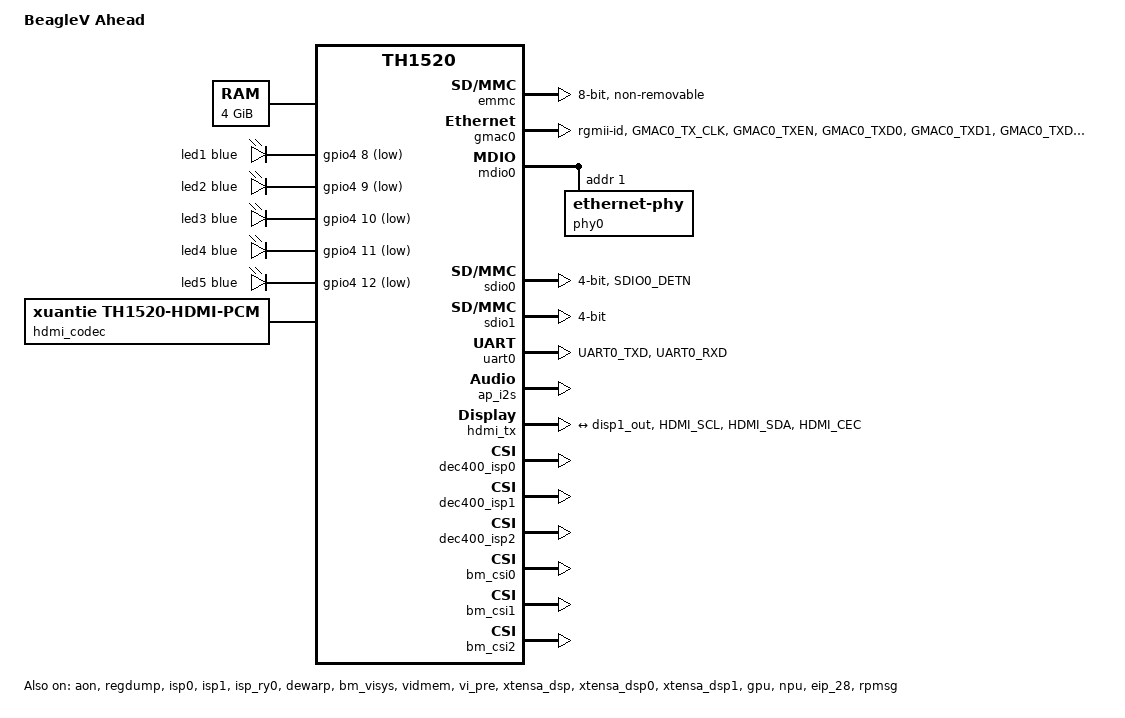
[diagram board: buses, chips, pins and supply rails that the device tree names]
// SPDX-License-Identifier: (GPL-2.0 OR MIT)
/*
 * Copyright (C) 2023 Jisheng Zhang <jszhang@kernel.org>
 * Copyright (C) 2023 Drew Fustini <dfustini@baylibre.com>
 */

/dts-v1/;

#include "th1520.dtsi"
#include <dt-bindings/gpio/gpio.h>
#include <dt-bindings/leds/common.h>

/ {
	model = "BeagleV Ahead";
	compatible = "beagle,beaglev-ahead", "thead,th1520";


	chosen {
		stdout-path = "serial0:115200n8";
	};

	memory@0 {
		device_type = "memory";
		reg = <0x0 0x200000 0x0 0xffe00000>;
	};

	leds {
		pinctrl-names = "default";
		pinctrl-0 = <&led_pins>;
		compatible = "gpio-leds";

		led-1 {
			gpios = <&gpio4 8 GPIO_ACTIVE_LOW>;
			color = <LED_COLOR_ID_BLUE>;
			label = "led1";
		};

		led-2 {
			gpios = <&gpio4 9 GPIO_ACTIVE_LOW>;
			color = <LED_COLOR_ID_BLUE>;
			label = "led2";
		};

		led-3 {
			gpios = <&gpio4 10 GPIO_ACTIVE_LOW>;
			color = <LED_COLOR_ID_BLUE>;
			label = "led3";
		};

		led-4 {
			gpios = <&gpio4 11 GPIO_ACTIVE_LOW>;
			color = <LED_COLOR_ID_BLUE>;
			label = "led4";
		};

		led-5 {
			gpios = <&gpio4 12 GPIO_ACTIVE_LOW>;
			color = <LED_COLOR_ID_BLUE>;
			label = "led5";
		};
	};

		th1520_iopmp: iopmp {
		compatible = "xuantie,th1520-iopmp";

		/* config#1: multiple valid regions */
		iopmp_emmc: IOPMP_EMMC {
			attr = <0xFFFFFFFF>;
			is_default_region;
		};

		/* config#2: iopmp bypass */
		iopmp_sdio0: IOPMP_SDIO0 {
			bypass_en;
		};

		/* config#3: iopmp default region set */
		iopmp_sdio1: IOPMP_SDIO1 {
			attr = <0xFFFFFFFF>;
			is_default_region;
		};

		iopmp_usb0: IOPMP_USB0 {
			attr = <0xFFFFFFFF>;
			is_default_region;
		};

		iopmp_ao: IOPMP_AO {
			is_default_region;
		};

		iopmp_aud: IOPMP_AUD {
			is_default_region;
		};

		iopmp_chip_dbg: IOPMP_CHIP_DBG {
			is_default_region;
		};

		iopmp_eip120i: IOPMP_EIP120I {
			is_default_region;
		};

		iopmp_eip120ii: IOPMP_EIP120II {
			is_default_region;
		};

		iopmp_eip120iii: IOPMP_EIP120III {
			is_default_region;
		};

		iopmp_isp0: IOPMP_ISP0 {
			is_default_region;
		};

		iopmp_isp1: IOPMP_ISP1 {
			is_default_region;
		};

		iopmp_dw200: IOPMP_DW200 {
			is_default_region;
		};

		iopmp_vipre: IOPMP_VIPRE {
			is_default_region;
		};

		iopmp_venc: IOPMP_VENC {
			is_default_region;
		};

		iopmp_vdec: IOPMP_VDEC {
			is_default_region;
		};

		iopmp_g2d: IOPMP_G2D {
			is_default_region;
		};

		iopmp_fce: IOPMP_FCE {
			is_default_region;
		};

		iopmp_npu: IOPMP_NPU {
			is_default_region;
		};

		iopmp0_dpu: IOPMP0_DPU {
			bypass_en;
		};

		iopmp1_dpu: IOPMP1_DPU {
			bypass_en;
		};

		iopmp_gpu: IOPMP_GPU {
			is_default_region;
		};

		iopmp_gmac1: IOPMP_GMAC1 {
			is_default_region;
		};

		iopmp_gmac2: IOPMP_GMAC2 {
			is_default_region;
		};

		iopmp_dmac: IOPMP_DMAC {
			is_default_region;
		};

		iopmp_tee_dmac: IOPMP_TEE_DMAC {
			is_default_region;
		};

		iopmp_dsp0: IOPMP_DSP0 {
			is_default_region;
		};

		iopmp_dsp1: IOPMP_DSP1 {
			is_default_region;
		};
	};

	mbox_910t_client2: mbox_910t_client2 {
		compatible = "xuantie,th1520-mbox-client";
		mbox-names = "906";
		mboxes = <&mbox_910t 2 0>;
		audio-mbox-regmap = <&audio_mbox>;
		status = "okay";
	};

	th1520_sound: soundcard@1 {
		compatible = "simple-audio-card";
		simple-audio-card,name = "TH1520-Sound-Card";
		#address-cells = <1>;
		#size-cells = <0>;

        simple-audio-card,dai-link@0 {
			reg = <0>;
			format = "i2s";
			cpu {
				sound-dai = <&ap_i2s 1>;
			};
			codec {
				sound-dai = <&hdmi_codec>;
			};
		};
	};

	th1520_rpmsg: th1520_rpmsg {
		compatible = "th1520,rpmsg-bus", "simple-bus";
		memory-region = <&rpmsgmem>;
		#address-cells = <2>;
		#size-cells = <2>;
		ranges;
		rpmsg: rpmsg{
			vdev-nums = <1>;
            reg = <0x0 0x1E000000 0 0x10000>;
			compatible = "th1520,th1520-rpmsg";
			log-memory-region = <&audio_log_mem>;
			audio-text-memory-region = <&audio_text_mem>;
			status = "okay";
		};
	};

	hdmi_codec: hdmi_codec@1 {
		#sound-dai-cells = <0>;
		compatible = "xuantie,th1520-hdmi-pcm";
		status = "okay";
		sound-name-prefix = "DUMMY";
	};

	thermal-zones {
		cpu-thermal {
			sustainable-power = <1600>;

			trips {
				trip_active0: active-0 {
					temperature = <39000>;
					hysteresis = <5000>;
					type = "active";
				};

				trip_active1: active-1 {
					temperature = <50000>;
					hysteresis = <5000>;
					type = "active";
				};

				trip_active2: active-2 {
					temperature = <60000>;
					hysteresis = <5000>;
					type = "active";
				};
			};
		};

		dev-thermal {
			sustainable-power = <3000>;
		};
	};
};

&cpus {
	c910_0: cpu@0 {
		dvdd-supply = <&dvdd_cpu_reg>;
		dvddm-supply = <&dvddm_cpu_reg>;

		operating-points = <
			/* kHz    uV */
			300000  600000
			400000  700000
			500000  700000
			600000  700000
			702000  700000
			800000  700000
			900000  800000
			1000000 800000
			1104000 800000
			1200000 800000
			1296000 800000
			1404000 800000
			1500000 800000
			1608000 1000000
			1704000 1000000
			1848000 1000000
		>;
		th1520,dvddm-operating-points = <
			/* kHz   uV */
			300000  800000
			400000  800000
			500000  800000
			600000  800000
			702000  800000
			800000  800000
			900000  800000
			1000000 800000
			1104000 800000
			1200000 800000
			1296000 800000
			1404000 800000
			1500000 800000
			1608000 1000000
			1704000 1000000
			1848000 1000000
		>;
	};
	c910_1: cpu@1 {
		dvdd-supply = <&dvdd_cpu_reg>;
		dvddm-supply = <&dvddm_cpu_reg>;

		operating-points = <
			/* kHz    uV */
			300000  600000
			400000  700000
			500000  700000
			600000  700000
			702000  700000
			800000  700000
			900000  800000
			1000000 800000
			1104000 800000
			1200000 800000
			1296000 800000
			1404000 800000
			1500000 800000
			1608000 1000000
			1704000 1000000
			1848000 1000000
		>;
		th1520,dvddm-operating-points = <
			/* kHz   uV */
			300000  800000
			400000  800000
			500000  800000
			600000  800000
			702000  800000
			800000  800000
			900000  800000
			1000000 800000
			1104000 800000
			1200000 800000
			1296000 800000
			1404000 800000
			1500000 800000
			1608000 1000000
			1704000 1000000
			1848000 1000000
		>;
	};
	c910_2: cpu@2 {
		dvdd-supply = <&dvdd_cpu_reg>;
		dvddm-supply = <&dvddm_cpu_reg>;

		operating-points = <
			/* kHz    uV */
			300000  600000
			400000  700000
			500000  700000
			600000  700000
			702000  700000
			800000  700000
			900000  800000
			1000000 800000
			1104000 800000
			1200000 800000
			1296000 800000
			1404000 800000
			1500000 800000
			1608000 1000000
			1704000 1000000
			1848000 1000000
		>;
		th1520,dvddm-operating-points = <
			/* kHz   uV */
			300000  800000
			400000  800000
			500000  800000
			600000  800000
			702000  800000
			800000  800000
			900000  800000
			1000000 800000
			1104000 800000
			1200000 800000
			1296000 800000
			1404000 800000
			1500000 800000
			1608000 1000000
			1704000 1000000
			1848000 1000000
		>;
	};
	c910_3: cpu@3 {
		dvdd-supply = <&dvdd_cpu_reg>;
		dvddm-supply = <&dvddm_cpu_reg>;

		operating-points = <
			/* kHz    uV */
			300000  600000
			400000  700000
			500000  700000
			600000  700000
			702000  700000
			800000  700000
			900000  800000
			1000000 800000
			1104000 800000
			1200000 800000
			1296000 800000
			1404000 800000
			1500000 800000
			1608000 1000000
			1704000 1000000
			1848000 1000000
		>;
		th1520,dvddm-operating-points = <
			/* kHz   uV */
			300000  800000
			400000  800000
			500000  800000
			600000  800000
			702000  800000
			800000  800000
			900000  800000
			1000000 800000
			1104000 800000
			1200000 800000
			1296000 800000
			1404000 800000
			1500000 800000
			1608000 1000000
			1704000 1000000
			1848000 1000000
		>;
	};
};

&osc {
	clock-frequency = <24000000>;
};

&osc_32k {
	clock-frequency = <32768>;
};

&rc_24m {
	clock-frequency = <24000000>;
};

&aonsys_clk {
	clock-frequency = <73728000>;
};

&audiosys_clk {
	clock-frequency = <294912000>;
};

&apb_clk {
	clock-frequency = <62500000>;
};

&sdhci_clk {
	clock-frequency = <198000000>;
};

&uart_sclk {
	clock-frequency = <100000000>;
};

&aon {
	log-memory-region = <&aon_log_mem>;
	status = "okay";

	dvdd_cpu_reg: appcpu_dvdd {
		compatible = "xuantie,th1520-aon-pmic";
		regulator-name = "appcpu_dvdd";
		regulator-min-microvolt = <300000>;
		regulator-max-microvolt = <1570000>;
		regulator-type = "dvdd";
		regulator-boot-on;
		regulator-always-on;
	};

	dvddm_cpu_reg: appcpu_dvddm {
		compatible = "xuantie,th1520-aon-pmic";
		regulator-name = "appcpu_dvddm";
		regulator-min-microvolt = <300000>;
		regulator-max-microvolt = <1570000>;
		regulator-type = "dvddm";
		regulator-dual-rail;
		regulator-boot-on;
		regulator-always-on;
	};

	soc_dvdd18_aon_reg: soc_dvdd18_aon {
		compatible = "xuantie,th1520-aon-pmic";
		regulator-name = "soc_dvdd18_aon";
		regulator-type = "common";
		regulator-boot-on;
		regulator-always-on;
	};

	soc_avdd33_usb3_reg: soc_avdd33_usb3 {
		compatible = "xuantie,th1520-aon-pmic";
		regulator-name = "soc_avdd33_usb3";
		regulator-type = "common";
		regulator-boot-on;
		regulator-always-on;
	};

	soc_dvdd08_aon_reg: soc_dvdd08_aon {
		compatible = "xuantie,th1520-aon-pmic";
		regulator-name = "soc_dvdd08_aon";
		regulator-type = "common";
		regulator-boot-on;
		regulator-always-on;
	};

	soc_dvdd08_ddr_reg: soc_dvdd08_ddr {
		compatible = "xuantie,th1520-aon-pmic";
		regulator-name = "soc_dvdd08_ddr";
		regulator-type = "common";
		regulator-boot-on;
		regulator-always-on;
	};

	soc_vdd_ddr_1v8_reg: soc_vdd_ddr_1v8 {
		compatible = "xuantie,th1520-aon-pmic";
		regulator-name = "soc_vdd_ddr_1v8";
		regulator-type = "common";
		regulator-boot-on;
		regulator-always-on;
	};

	soc_vdd_ddr_1v1_reg: soc_vdd_ddr_1v1 {
		compatible = "xuantie,th1520-aon-pmic";
		regulator-name = "soc_vdd_ddr_1v1";
		regulator-type = "common";
		regulator-boot-on;
		regulator-always-on;
	};

	soc_vdd_ddr_0v6_reg: soc_vdd_ddr_0v6 {
		compatible = "xuantie,th1520-aon-pmic";
		regulator-name = "soc_vdd_ddr_0v6";
		regulator-type = "common";
		regulator-boot-on;
		regulator-always-on;
	};

	soc_dvdd18_ap_reg: soc_dvdd18_ap {
		compatible = "xuantie,th1520-aon-pmic";
		regulator-name = "soc_dvdd18_ap";
		regulator-type = "common";
		regulator-boot-on;
		regulator-always-on;
	};

	soc_dvdd08_ap_reg: soc_dvdd08_ap {
		compatible = "xuantie,th1520-aon-pmic";
		regulator-name = "soc_dvdd08_ap";
		regulator-type = "common";
		regulator-boot-on;
		regulator-always-on;
	};

	soc_avdd08_mipi_hdmi_reg: soc_avdd08_mipi_hdmi {
		compatible = "xuantie,th1520-aon-pmic";
		regulator-name = "soc_avdd08_mipi_hdmi";
		regulator-type = "common";
		regulator-boot-on;
		regulator-always-on;
	};

	soc_avdd18_mipi_hdmi_reg: soc_avdd18_mipi_hdmi {
		compatible = "xuantie,th1520-aon-pmic";
		regulator-name = "soc_avdd18_mipi_hdmi";
		regulator-type = "common";
		regulator-boot-on;
		regulator-always-on;
	};

	soc_vdd33_emmc_reg: soc_vdd33_emmc {
		compatible = "xuantie,th1520-aon-pmic";
		regulator-name = "soc_dvdd33_emmc";
		regulator-type = "common";
		regulator-boot-on;
		regulator-always-on;
	};

	soc_vdd18_emmc_reg: soc_vdd18_emmc {
		compatible = "xuantie,th1520-aon-pmic";
		regulator-name = "soc_dvdd18_emmc";
		regulator-type = "gpio";
		regulator-boot-on;
		regulator-always-on;
	};

	soc_dovdd18_scan_reg: soc_dovdd18_scan {
		compatible = "xuantie,th1520-aon-pmic";
		regulator-name = "soc_dovdd18_scan";
		regulator-type = "common";
		regulator-min-microvolt = <900000>;
		regulator-max-microvolt = <3600000>;
	};

	soc_dvdd12_scan_reg: soc_dvdd12_scan {
		compatible = "xuantie,th1520-aon-pmic";
		regulator-name = "soc_dvdd12_scan";
		regulator-type = "common";
		regulator-min-microvolt = <900000>;
		regulator-max-microvolt = <3600000>;
	};

	soc_avdd28_scan_en_reg: soc_avdd28_scan_en {
		compatible = "xuantie,th1520-aon-pmic";
		regulator-name = "soc_avdd28_scan_en";
		regulator-type = "common";
		regulator-min-microvolt = <900000>;
		regulator-max-microvolt = <3600000>;
	};
};

&dmac0 {
	status = "okay";
};

&gmac_clk {
        clock-frequency = <500000000>;
};

&gmac_axi_clk {
        clock-frequency = <100000000>;
};

&emmc {
	bus-width = <8>;
	max-frequency = <198000000>;
	mmc-hs400-1_8v;
	non-removable;
	no-sdio;
	no-sd;
	status = "okay";
};

&gmac0 {
	pinctrl-names = "default";
	pinctrl-0 = <&gmac0_pins>;
	phy-mode = "rgmii-id";
	status = "okay";
};

&mdio0 {
        phy0: ethernet-phy@1 {
                reg = <1>;
        };
};

&padctrl_aosys {
	led_pins: led-0 {
		led-pins {
			pins = "AUDIO_PA8",  /* GPIO4_8 */
			       "AUDIO_PA9",  /* GPIO4_9 */
			       "AUDIO_PA10", /* GPIO4_10 */
			       "AUDIO_PA11", /* GPIO4_11 */
			       "AUDIO_PA12"; /* GPIO4_12 */
			function = "gpio";
			bias-disable;
			drive-strength = <3>;
			input-disable;
			input-schmitt-disable;
			slew-rate = <0>;
		};
	};
};

&padctrl0_apsys {
	gmac0_pins: gmac0-0 {
		tx-pins {
			pins = "GMAC0_TX_CLK",
			       "GMAC0_TXEN",
			       "GMAC0_TXD0",
			       "GMAC0_TXD1",
			       "GMAC0_TXD2",
			       "GMAC0_TXD3";
			function = "gmac0";
			bias-disable;
			drive-strength = <25>;
			input-disable;
			input-schmitt-disable;
			slew-rate = <0>;
		};

		rx-pins {
			pins = "GMAC0_RX_CLK",
			       "GMAC0_RXDV",
			       "GMAC0_RXD0",
			       "GMAC0_RXD1",
			       "GMAC0_RXD2",
			       "GMAC0_RXD3";
			function = "gmac0";
			bias-disable;
			drive-strength = <1>;
			input-enable;
			input-schmitt-disable;
			slew-rate = <0>;
		};

		mdc-pins {
			pins = "GMAC0_MDC";
			function = "gmac0";
			bias-disable;
			drive-strength = <13>;
			input-disable;
			input-schmitt-disable;
			slew-rate = <0>;
		};

		mdio-pins {
			pins = "GMAC0_MDIO";
			function = "gmac0";
			bias-disable;
			drive-strength = <13>;
			input-enable;
			input-schmitt-enable;
			slew-rate = <0>;
		};
	};

	sdio0_pins: sdio0-0 {
		detn-pins {
			pins = "SDIO0_DETN";
			function = "sdio";
			bias-disable; /* external pull-up */
			drive-strength = <1>;
			input-enable;
			input-schmitt-enable;
			slew-rate = <0>;
		};
	};

	uart0_pins: uart0-0 {
		tx-pins {
			pins = "UART0_TXD";
			function = "uart";
			bias-disable;
			drive-strength = <3>;
			input-disable;
			input-schmitt-disable;
			slew-rate = <0>;
		};

		rx-pins {
			pins = "UART0_RXD";
			function = "uart";
			bias-disable;
			drive-strength = <1>;
			input-enable;
			input-schmitt-enable;
			slew-rate = <0>;
		};
	};

	hdmi_tx_pins: hdmi-tx-0 {
		hdmi-pins {
			pins = "HDMI_SCL", "HDMI_SDA", "HDMI_CEC";
			function = "hdmi";
			bias-disable;
			drive-strength = <3>;
			input-enable;
			input-schmitt-disable;
			slew-rate = <0>;
		};
	};
};

&emmc {
       bus-width = <8>;
       max-frequency = <198000000>;
       mmc-hs400-1_8v;
       non-removable;
       no-sdio;
       no-sd;
       status = "okay";
};

&sdio0 {
	pinctrl-names = "default";
	pinctrl-0 = <&sdio0_pins>;
	bus-width = <4>;
	max-frequency = <198000000>;
	wprtn_ignore;
	no-sdio;
	status = "okay";
};

&sdio1 {
		max-frequency = <198000000>;
		bus-width = <4>;
		pull_up;
		no-sd;
		no-mmc;
		broken-cd;
		io_fixed_1v8;
		post-power-on-delay-ms = <50>;
		wprtn_ignore;
		cap-sd-highspeed;
		wakeup-source;
		keep-power-in-suspend;
		status = "okay";
};

&uart0 {
	pinctrl-names = "default";
	pinctrl-0 = <&uart0_pins>;
	status = "okay";
};

&resmem {
	#address-cells = <2>;
	#size-cells = <2>;
	ranges;

	/* global autoconfigured region for contiguous allocations */
	cmamem: linux,cma {
		compatible = "shared-dma-pool";
		reusable;
		size = <0 0x14000000>; // 512MB on lpi4a (SOM)
		alloc-ranges = <00 0xe4000000 0 0x14000000>;
		linux,cma-default;
	};
	dsp0_mem: memory@20000000 {             /**0x2000_0000~0x2040_0000 4M**/
		reg = <0x0 0x20000000 0x0 0x00280000   /* DSP FW code&data section 2.5M*/
			0x0 0x20280000 0x0 0x00001000   /* DSP communication area 4K*/
			0x0 0x20281000 0x0 0x00007000  /* Panic/log page 28K */
			0x0 0x20288000 0x0 0x00178000>;  /* DSP shared memory 1.5M-32K*/
		};
	dsp1_mem: memory@20400000 {             /**0x2040_0000~0x2080_0000 4M**/
		reg = <0x0 0x20400000 0x0 0x00280000  /* DSP FW code&data section */
			0x0 0x20680000 0x0 0x00001000 /* DSP communication area */
			0x0 0x20681000 0x0 0x00007000    /* Panic/log page*/
			0x0 0x20688000 0x0 0x00178000>;  /* DSP shared memory */
		};
    vi_mem: framebuffer@0f800000 {
		reg = <0x0 0x0F800000 0x0 0x05400000	/* vi_mem_pool_region[0]  84 MB (default) */
		       0x0 0x14C00000 0x0 0x01D00000	/* vi_mem_pool_region[1]  29 MB */
		       0x0 0x16900000 0x0 0x03200000>;	/* vi_mem_pool_region[2]  50 MB */
	};

    audio_text_mem: memory@32000000 {
		reg = <0x0 0x32000000 0x0 0xE00000>;
		//no-map;
    };
    audio_data_mem: memory@32E00000 {
		reg = <0x0 0x32E00000 0x0 0x600000>;
		//no-map;
    };
	audio_log_mem: memory@33400000 {
        reg = <0x0 0x33400000 0x0 0x200000>;
	};
	//Note: with "no-map" reserv mem not saved in hibernation
	rpmsgmem: memory@1E000000 {
		reg = <0x0 0x1E000000 0x0 0x10000>;
	};
	aon_log_mem: memory@33600000 {
        reg = <0x0 0x33600000 0x0 0x200000>;
	};
	regdump_mem: memory@38400000 {
		reg = <0x0 0x38400000 0x0 0x1400000>;
		no-map;
	};
};

&regdump {
	memory-region = <&regdump_mem>;
	status = "okay";
};

&ap_i2s {
	status = "okay";
};

&dpu_enc1 {
	ports {
		/delete-node/ port@0;
	};
};

&disp1_out {
	remote-endpoint = <&hdmi_tx_in>;
};

&hdmi_tx {
	status = "okay";

	port@0 {
		/* input */
		hdmi_tx_in: endpoint {
			remote-endpoint = <&disp1_out>;
		};
	};
};

&isp0 {
	status = "okay";
};

&isp1 {
	status = "okay";
};

&isp_ry0 {
	status = "okay";
};

&dewarp {
	status = "okay";
};

&dec400_isp0 {
	status = "okay";
};

&dec400_isp1 {
	status = "okay";
};

&dec400_isp2 {
	status = "okay";
};

&bm_visys {
	status = "okay";
};

&bm_csi0 {
	status = "okay";
};

&bm_csi1 {
	status = "okay";
};

&bm_csi2 {
	status = "okay";
};

&vidmem {
	status = "okay";
	memory-region = <&vi_mem>;
};

&vi_pre {
	status = "okay";
};

&xtensa_dsp {
	status = "okay";
};

&xtensa_dsp0 {
	status = "okay";
	memory-region = <&dsp0_mem>;
};

&xtensa_dsp1 {
	status = "okay";
	memory-region = <&dsp1_mem>;
};

&gpu {
	status = "okay";
};

&npu {
	vha_clk_rate = <1000000000>;
	status = "okay";
};

&npu_opp_table {
	opp-1000000000 {
		opp-suspend;
	};
};

&dpu_enc1 {
	ports {
		/delete-node/ port@0;
	};
};

&disp1_out {
	remote-endpoint = <&hdmi_tx_in>;
};

&hdmi_tx {
	status = "okay";
	pinctrl-names = "default";
	pinctrl-0 = <&hdmi_tx_pins>;

	port@0 {
		/* input */
		hdmi_tx_in: endpoint {
			remote-endpoint = <&disp1_out>;
		};
	};
};

&eip_28 {
	status = "okay";
};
